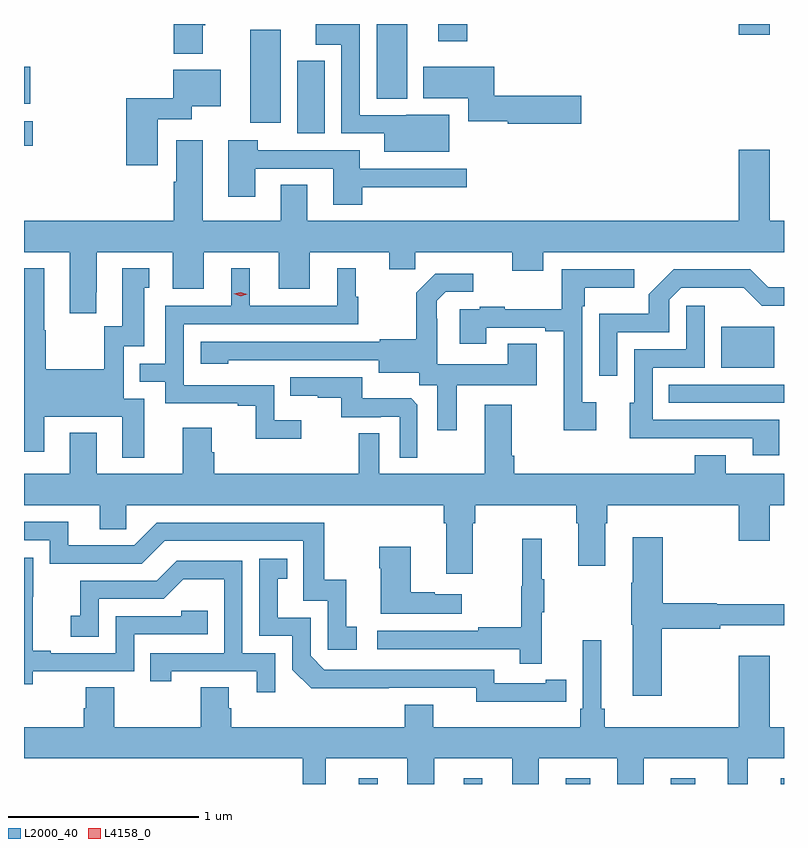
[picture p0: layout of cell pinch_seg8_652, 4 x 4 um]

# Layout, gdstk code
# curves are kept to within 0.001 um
import gdstk
lib = gdstk.Library(unit=1e-6, precision=1e-09)
def R(c, l, rs):  # rectangles x0, y0, x1, y1
    for r in rs: c.add(gdstk.rectangle(r[:2], r[2:], *l))
def P(c, l, *ps):  # polygons
    for p in ps: c.add(gdstk.Polygon(p, *l))
L2000_40 = (2000, 40)
L4158_0 = (4158, 0)

pinch_seg8_652 = lib.new_cell('pinch_seg8_652')
R(pinch_seg8_652, L2000_40, [(306.866,1097.716,306.964,1097.746), (307.418,1097.716,307.516,1097.746), (307.955,1097.716,308.083,1097.746), (308.507,1097.716,308.635,1097.746), (309.086,1097.716,309.103,1097.746), (308.497,1099.722,309.103,1099.818), (308.774,1099.907,309.052,1100.122), (305.103,1101.076,305.149,1101.205), (306.542,1101.14,306.685,1101.523), (306.293,1101.195,306.454,1101.685), (305.103,1101.296,305.135,1101.49), (306.959,1101.323,307.12,1101.716), (307.283,1101.624,307.436,1101.716), (308.864,1101.66,309.028,1101.716)])
P(pinch_seg8_652, L2000_40, [(306.043,1101.71),(306.056,1101.71),(306.056,1101.716),(305.891,1101.716),(305.891,1101.56),(306.043,1101.56)],
  [(307.342,1101.238),(307.116,1101.238),(307.116,1101.237),(306.87,1101.237),(306.87,1101.715),(306.639,1101.715),(306.639,1101.608),(306.774,1101.608),(306.774,1101.141),(306.998,1101.141),(306.998,1101.044),(307.342,1101.044)],
  [(308.035,1101.338),(307.577,1101.338),(307.577,1101.49),(307.205,1101.49),(307.205,1101.326),(307.442,1101.326),(307.442,1101.203),(307.65,1101.203),(307.65,1101.191),(308.035,1101.191)],
  [(305.806,1101.215),(305.985,1101.215),(305.985,1101.284),(306.139,1101.284),(306.139,1101.475),(305.889,1101.475),(305.889,1101.325),(305.641,1101.325),(305.641,1100.973),(305.806,1100.973)],
  [(306.884,1100.858),(307.432,1100.858),(307.432,1100.955),(306.871,1100.955),(306.871,1101.051),(306.332,1101.051),(306.332,1101.103),(306.179,1101.103),(306.179,1100.808),(306.319,1100.808),(306.319,1100.955),(306.731,1100.955),(306.731,1100.766),(306.884,1100.766)],
  [(305.482,1100.305),(305.485,1100.305),(305.485,1100.516),(305.885,1100.516),(305.885,1100.322),(306.049,1100.322),(306.049,1100.516),(306.443,1100.516),(306.443,1100.322),(306.607,1100.322),(306.607,1100.516),(307.025,1100.516),(307.025,1100.426),(307.163,1100.426),(307.163,1100.516),(307.673,1100.516),(307.673,1100.417),(307.837,1100.417),(307.837,1100.516),(309.103,1100.516),(309.103,1100.68),(309.028,1100.68),(309.028,1101.055),(308.864,1101.055),(308.864,1100.68),(306.595,1100.68),(306.595,1100.87),(306.455,1100.87),(306.455,1100.68),(306.043,1100.68),(306.043,1101.103),(305.903,1101.103),(305.903,1100.885),(305.891,1100.885),(305.891,1100.68),(305.103,1100.68),(305.103,1100.516),(305.345,1100.516),(305.345,1100.193),(305.482,1100.193)],
  [(306.562,1099.63),(306.42,1099.63),(306.42,1099.815),(305.943,1099.815),(305.943,1100.136),(306.862,1100.136),(306.862,1100.28),(306.85,1100.28),(306.85,1100.431),(306.752,1100.431),(306.752,1100.232),(306.292,1100.232),(306.292,1100.431),(306.194,1100.431),(306.194,1100.232),(305.847,1100.232),(305.847,1099.929),(305.713,1099.929),(305.713,1099.833),(305.847,1099.833),(305.847,1099.719),(306.227,1099.719),(306.227,1099.707),(306.322,1099.707),(306.322,1099.532),(306.562,1099.532)],
  [(305.737,1099.743),(305.628,1099.743),(305.628,1100.019),(305.737,1100.019),(305.737,1100.328),(305.761,1100.328),(305.761,1100.431),(305.621,1100.431),(305.621,1100.124),(305.525,1100.124),(305.525,1099.9),(305.217,1099.9),(305.217,1100.105),(305.209,1100.105),(305.209,1100.431),(305.103,1100.431),(305.103,1099.464),(305.209,1099.464),(305.209,1099.649),(305.621,1099.649),(305.621,1099.434),(305.737,1099.434)],
  [(308.226,1100.094),(308.499,1100.094),(308.499,1100.265),(308.562,1100.328),(308.891,1100.327),(308.985,1100.232),(309.103,1100.232),(309.103,1100.33),(309.02,1100.33),(308.925,1100.424),(308.522,1100.424),(308.392,1100.294),(308.392,1100.191),(308.13,1100.191),(308.13,1099.866),(308.226,1099.866)],
  [(308.116,1099.726),(308.04,1099.726),(308.04,1100.231),(308.053,1100.231),(308.053,1100.327),(308.314,1100.327),(308.314,1100.424),(307.932,1100.424),(307.932,1100.216),(307.633,1100.216),(307.633,1100.227),(307.501,1100.227),(307.501,1100.214),(307.397,1100.214),(307.397,1100.034),(307.537,1100.034),(307.537,1100.118),(307.847,1100.118),(307.847,1100.1),(307.943,1100.1),(307.943,1099.578),(308.116,1099.578)],
  [(307.381,1099.814),(307.801,1099.814),(307.801,1100.033),(307.649,1100.033),(307.649,1099.924),(307.278,1099.924),(307.278,1100.165),(307.276,1100.165),(307.276,1100.26),(307.323,1100.307),(307.468,1100.307),(307.468,1100.401),(307.267,1100.401),(307.167,1100.301),(307.167,1100.056),(306.975,1100.056),(306.975,1100.043),(306.033,1100.043),(306.033,1099.928),(306.177,1099.928),(306.177,1099.946),(306.971,1099.947),(306.971,1099.88),(307.182,1099.88),(307.182,1099.816),(307.277,1099.816),(307.277,1099.578),(307.381,1099.578)],
  [(309.079,1099.632),(308.412,1099.632),(308.412,1099.908),(308.685,1099.908),(308.685,1100.233),(308.589,1100.233),(308.589,1100.004),(308.316,1100.004),(308.316,1099.722),(308.291,1099.722),(308.291,1099.535),(308.509,1099.535),(308.509,1099.536),(308.939,1099.536),(308.939,1099.446),(309.079,1099.446)],
  [(307.173,1099.713),(307.141,1099.745),(306.883,1099.745),(306.883,1099.857),(306.505,1099.857),(306.505,1099.76),(306.649,1099.76),(306.649,1099.749),(306.773,1099.749),(306.773,1099.647),(306.98,1099.647),(306.98,1099.65),(307.08,1099.65),(307.08,1099.433),(307.173,1099.433)],
  [(307.465,1099.088),(307.478,1099.088),(307.478,1099.184),(308.009,1099.184),(308.009,1099.088),(308.021,1099.088),(308.021,1098.864),(308.161,1098.864),(308.161,1099.088),(308.174,1099.088),(308.174,1099.184),(308.864,1099.184),(308.864,1098.996),(309.028,1098.996),(309.028,1099.184),(309.103,1099.184),(309.103,1099.348),(308.797,1099.348),(308.797,1099.447),(308.633,1099.447),(308.633,1099.348),(307.682,1099.348),(307.682,1099.444),(307.669,1099.444),(307.669,1099.711),(307.529,1099.711),(307.529,1099.348),(306.972,1099.348),(306.972,1099.562),(306.864,1099.562),(306.864,1099.348),(306.104,1099.348),(306.104,1099.461),(306.091,1099.461),(306.091,1099.591),(305.939,1099.591),(305.939,1099.348),(305.485,1099.348),(305.485,1099.564),(305.345,1099.564),(305.345,1099.348),(305.103,1099.348),(305.103,1099.184),(305.501,1099.184),(305.501,1099.057),(305.64,1099.057),(305.64,1099.184),(307.313,1099.184),(307.313,1099.088),(307.325,1099.088),(307.325,1098.822),(307.465,1098.822)],
  [(306.853,1098.543),(306.8,1098.543),(306.8,1098.79),(306.682,1098.79),(306.682,1099.092),(305.802,1099.092),(305.682,1098.972),(305.335,1098.972),(305.335,1099.095),(305.103,1099.095),(305.103,1098.999),(305.238,1098.999),(305.238,1098.876),(305.724,1098.876),(305.844,1098.996),(306.573,1098.996),(306.573,1098.681),(306.702,1098.681),(306.702,1098.423),(306.853,1098.423)],
  [(308.46,1098.532),(308.768,1098.532),(308.768,1098.551),(309.103,1098.551),(309.103,1098.661),(308.748,1098.661),(308.748,1098.668),(308.465,1098.668),(308.465,1099.015),(308.306,1099.015),(308.306,1098.776),(308.299,1098.776),(308.299,1098.555),(308.306,1098.555),(308.306,1098.18),(308.46,1098.18)],
  [(307.829,1098.619),(307.84,1098.619),(307.84,1098.793),(307.829,1098.793),(307.829,1099.006),(307.726,1099.006),(307.726,1098.756),(307.719,1098.756),(307.719,1098.542),(307.495,1098.542),(307.495,1098.522),(306.963,1098.522),(306.963,1098.426),(307.711,1098.426),(307.711,1098.348),(307.829,1098.348)],
  [(307.408,1098.715),(307.265,1098.715),(307.265,1098.725),(307.138,1098.725),(307.138,1098.964),(306.973,1098.964),(306.973,1098.851),(306.98,1098.851),(306.98,1098.611),(307.408,1098.611)],
  [(305.148,1098.309),(305.682,1098.309),(305.682,1098.504),(306.071,1098.504),(306.071,1098.627),(305.931,1098.627),(305.931,1098.6),(305.586,1098.6),(305.586,1098.405),(305.245,1098.405),(305.245,1098.418),(305.15,1098.418),(305.15,1098.701),(305.151,1098.701),(305.151,1098.907),(305.103,1098.907),(305.103,1098.241),(305.148,1098.241)],
  [(307.85,1098.15),(307.958,1098.15),(307.958,1098.266),(307.85,1098.266),(307.85,1098.246),(307.578,1098.246),(307.578,1098.318),(306.684,1098.318),(306.612,1098.39),(306.612,1098.591),(306.439,1098.591),(306.439,1098.795),(306.488,1098.795),(306.488,1098.901),(306.342,1098.901),(306.342,1098.495),(306.516,1098.495),(306.516,1098.318),(306.614,1098.221),(307.482,1098.222),(307.482,1098.149)],
  [(306.426,1098.405),(306.252,1098.405),(306.252,1098.891),(305.906,1098.891),(305.801,1098.786),(305.398,1098.786),(305.398,1098.601),(305.349,1098.601),(305.349,1098.492),(305.496,1098.492),(305.496,1098.69),(305.838,1098.69),(305.942,1098.794),(306.156,1098.794),(306.156,1098.405),(305.767,1098.405),(305.767,1098.258),(305.878,1098.258),(305.878,1098.309),(306.329,1098.309),(306.329,1098.198),(306.426,1098.198)],
  [(306.691,1097.852),(307.121,1097.852),(307.121,1097.716),(307.261,1097.716),(307.261,1097.852),(307.673,1097.852),(307.673,1097.716),(307.813,1097.716),(307.813,1097.852),(308.225,1097.852),(308.225,1097.716),(308.365,1097.716),(308.365,1097.852),(308.807,1097.852),(308.807,1097.716),(308.911,1097.716),(308.911,1097.852),(309.103,1097.852),(309.103,1098.016),(309.028,1098.016),(309.028,1098.391),(308.864,1098.391),(308.864,1098.016),(308.159,1098.016),(308.159,1098.112),(308.14,1098.112),(308.14,1098.472),(308.043,1098.472),(308.043,1098.112),(308.03,1098.112),(308.03,1098.016),(307.258,1098.016),(307.258,1098.133),(307.106,1098.133),(307.106,1098.016),(306.194,1098.016),(306.194,1098.114),(306.181,1098.114),(306.181,1098.224),(306.034,1098.224),(306.034,1098.016),(305.577,1098.016),(305.577,1098.224),(305.429,1098.224),(305.429,1098.114),(305.417,1098.114),(305.417,1098.016),(305.103,1098.016),(305.103,1097.852),(306.57,1097.852),(306.57,1097.716),(306.691,1097.716)])
P(pinch_seg8_652, L4158_0, [(306.243,1100.284),(306.207,1100.295),(306.207,1100.295),(306.207,1100.296),(306.243,1100.304),(306.279,1100.293),(306.279,1100.293),(306.279,1100.293)])

lib.write_gds('pinch_seg8_652.gds')
